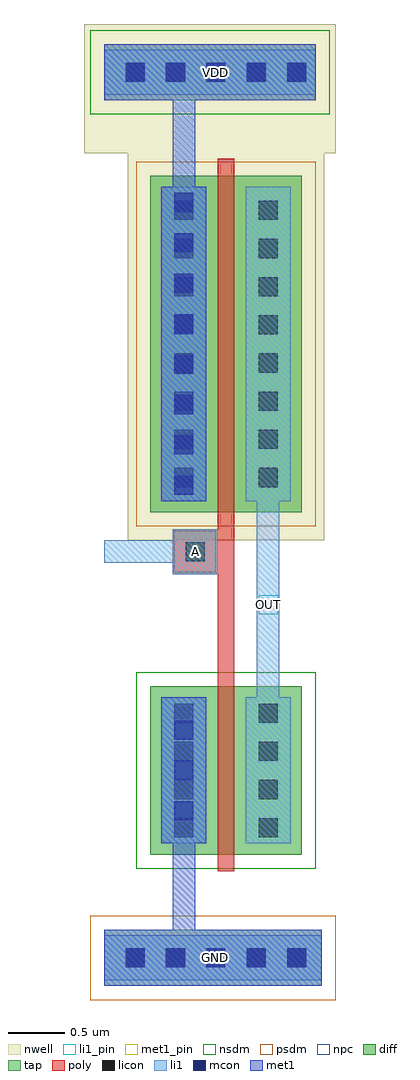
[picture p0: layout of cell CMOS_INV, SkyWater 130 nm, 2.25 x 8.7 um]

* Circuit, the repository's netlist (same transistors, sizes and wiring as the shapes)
* SPICE3 file created from CMOS_INV.ext - technology: sky130A

.subckt INV_VP_VN A OUT VP VN
X0 OUT A VP VP sky130_fd_pr__pfet_01v8 ad=1.8e+12p pd=7.2e+06u as=1.8e+12p ps=7.2e+06u w=3e+06u l=150000u
X1 OUT A VN VN sky130_fd_pr__nfet_01v8 ad=9e+11p pd=4.2e+06u as=9e+11p ps=4.2e+06u w=1.5e+06u l=150000u
.ends

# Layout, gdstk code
import gdstk
lib = gdstk.Library(unit=1e-6, precision=1e-09)
def R(c, l, rs):  # rectangles x0, y0, x1, y1
    for r in rs: c.add(gdstk.rectangle(r[:2], r[2:], *l))
def A(c, l, x, y, w, h, nx, ny, dx, dy):  # array of equal rectangles
    R(c, l, [(x+i*dx, y+j*dy, x+i*dx+w, y+j*dy+h) for i in range(nx) for j in range(ny)])
nwell = (64, 20)
diff = (65, 20)
tap = (65, 44)
poly = (66, 20)
licon = (66, 44)
li1_pin = (67, 16)
li1 = (67, 20)
mcon = (67, 44)
met1_pin = (68, 16)
met1 = (68, 20)
nsdm = (93, 44)
psdm = (94, 20)
npc = (95, 20)

cmos_inv = lib.new_cell('CMOS_INV')
R(cmos_inv, nwell, [(1.65,2.5,3.4,5.95), (1.26,5.95,3.505,7.1)])
R(cmos_inv, diff, [(1.85,-0.3,3.2,1.2), (1.85,2.75,3.2,5.75)])
R(cmos_inv, tap, [(1.44,-1.47,3.38,-0.97), (1.44,6.42,3.325,6.92)])
R(cmos_inv, poly, [(2.45,-0.45,2.6,2.2), (2.05,2.2,2.6,2.6), (2.45,2.6,2.6,5.9)])
A(cmos_inv, licon, 1.63, -1.305, 0.17, 0.17, 5, 2, 0.36, 7.89)
A(cmos_inv, licon, 2.065, -0.145, 0.17, 0.17, 1, 4, 0, 0.34)
A(cmos_inv, licon, 2.815, -0.145, 0.17, 0.17, 1, 4, 0, 0.34)
A(cmos_inv, licon, 2.065, 2.975, 0.17, 0.17, 1, 8, 0, 0.34)
A(cmos_inv, licon, 2.815, 2.975, 0.17, 0.17, 1, 8, 0, 0.34)
R(cmos_inv, licon, [(2.165,2.315,2.335,2.485)])
R(cmos_inv, li1_pin, [(2.815,1.84,2.985,2.01), (2.165,2.315,2.335,2.485)])
R(cmos_inv, li1, [(1.44,-1.42,3.38,-1.02), (1.95,-0.2,2.35,1.1), (2.7,-0.2,3.1,1.1), (2.8,1.1,3,2.85), (2.05,2.2,2.45,2.3), (1.44,2.3,2.45,2.5), (2.05,2.5,2.45,2.6), (1.95,2.85,2.35,5.65), (2.7,2.85,3.1,5.65), (1.44,6.47,3.325,6.87)])
A(cmos_inv, mcon, 1.63, -1.305, 0.17, 0.17, 5, 2, 0.36, 7.89)
A(cmos_inv, mcon, 2.065, 0.005, 0.17, 0.17, 1, 3, 0, 0.36)
A(cmos_inv, mcon, 2.065, 2.905, 0.17, 0.17, 1, 8, 0, 0.36)
R(cmos_inv, met1_pin, [(2.35,-1.305,2.52,-1.135), (2.35,6.585,2.52,6.755)])
R(cmos_inv, met1, [(1.44,-1.47,3.38,-0.97), (2.05,-0.97,2.25,-0.2), (1.95,-0.2,2.35,1.1), (1.95,2.85,2.35,5.65), (2.05,5.65,2.25,6.42), (1.44,6.42,3.325,6.92)])
R(cmos_inv, nsdm, [(1.725,-0.425,3.325,1.325), (1.315,6.295,3.45,7.045)])
R(cmos_inv, psdm, [(1.315,-1.595,3.505,-0.845), (1.725,2.625,3.325,5.875)])
R(cmos_inv, npc, [(2.065,2.215,2.435,2.585)])
cmos_inv.add(gdstk.Label('A', (2.25,2.4), layer=67, texttype=16))
cmos_inv.add(gdstk.Label('OUT', (2.9,1.925), layer=67, texttype=16))
cmos_inv.add(gdstk.Label('VDD', (2.435,6.67), layer=68, texttype=16))
cmos_inv.add(gdstk.Label('GND', (2.435,-1.22), layer=68, texttype=16))

lib.write_gds('CMOS_INV.gds')
